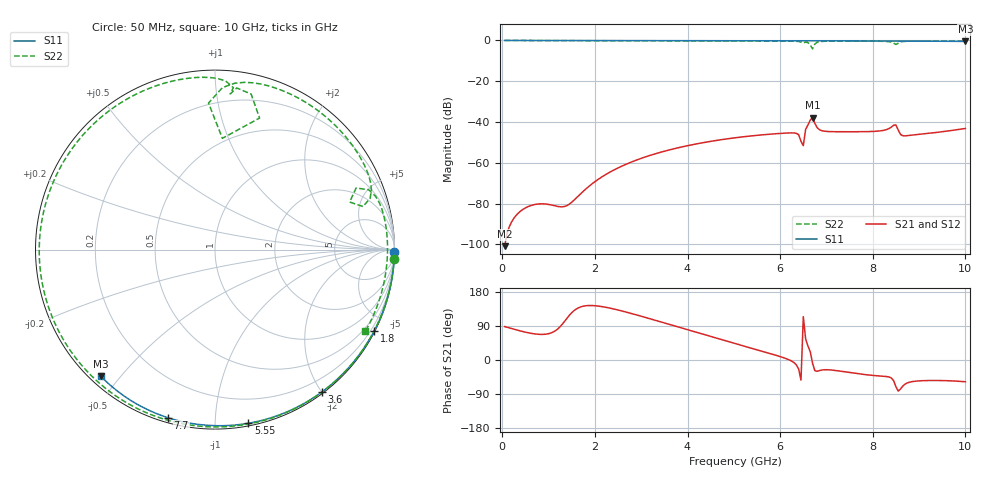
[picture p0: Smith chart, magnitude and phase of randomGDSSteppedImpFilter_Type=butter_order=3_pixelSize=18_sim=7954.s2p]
! freq	dB(S11)	phase(S11)	dB(S12)	phase(S12)
!  dB(S21)	phase(S21)	dB(S22)	phase(S22)
!S-par simulation data
#  GHz  S  DB  R 50
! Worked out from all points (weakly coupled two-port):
!   200 points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, 50 MHz to 10 GHz, reference 50 ohm
!   highest |S21| = -37.88 dB at 6.7 GHz (marker M1); lowest = -100.8 dB at 50 MHz (marker M2)
!   lowest |S11| = -0.4 dB at 10 GHz (marker M3), VSWR 38.97, Z = 1.54 - j22.2 ohm
!   |S11| at or under -10 dB: nowhere
!   |S22| runs from -4.1 to 0.0 dB; largest |S21 - S12| = 0
!   S11 on the Smith chart (normalised r, x): 50 MHz: open; 1.8 GHz: 0.04, -4.15; 3.6 GHz: 0.02, -2.01; 5.55 GHz: 0.02, -1.21; 7.7 GHz: 0.02, -0.76; 10 GHz: 0.03, -0.44
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0.05  -0.00 -0.8  -100.84 88.2  -100.84 88.2  -0.00 -2.9
0.8  -0.02 -12.1  -80.12 67.7  -80.12 67.7  -0.06 -44.8
1.45  -0.03 -21.9  -80.19 118.3  -80.19 118.3  -0.09 -78.5
1.75  -0.03 -26.4  -73.91 142.1  -73.91 142.1  -0.11 -93.0
1.8  -0.03 -27.1  -72.88 143.1  -72.88 143.1  -0.11 -95.3
2.45  -0.05 -36.6  -63.03 133.4  -63.03 133.4  -0.13 -124.0
3.4  -0.07 -50.2  -54.92 101.4  -54.92 101.4  -0.16 -161.6
3.6  -0.07 -53.0  -53.69 94.2  -53.69 94.2  -0.17 -169.0
5.05  -0.11 -72.6  -47.64 42.5  -47.64 42.5  -0.23 139.0
5.55  -0.13 -79.1  -46.40 25.1  -46.40 25.1  -0.25 121.0
6.35  -0.16 -89.2  -45.53 -13.0  -45.53 -13.0  -0.41 89.2
6.5  -0.18 -91.1  -51.56 114.3  -51.56 114.3  -1.20 84.4
6.55  -0.18 -91.7  -43.58 55.7  -43.58 55.7  -0.83 82.3
6.65  -0.18 -92.9  -39.02 21.9  -39.02 21.9  -2.23 71.3
6.7  -0.18 -93.5  -37.88 -8.6  -37.88 -8.6  -4.13 86.2
6.8  -0.19 -94.7  -42.78 -29.8  -42.78 -29.8  -0.88 87.3
6.9  -0.19 -96.0  -44.24 -26.5  -44.24 -26.5  -0.48 79.9
7.7  -0.24 -105.6  -44.75 -36.5  -44.75 -36.5  -0.33 46.7
8.35  -0.29 -113.2  -43.20 -44.8  -43.20 -44.8  -0.60 20.9
8.5  -0.30 -114.9  -41.41 -70.6  -41.41 -70.6  -1.99 19.5
8.7  -0.32 -117.3  -46.77 -63.4  -46.77 -63.4  -0.42 15.8
10  -0.45 -132.1  -43.15 -57.4  -43.15 -57.4  -0.42 -28.6
